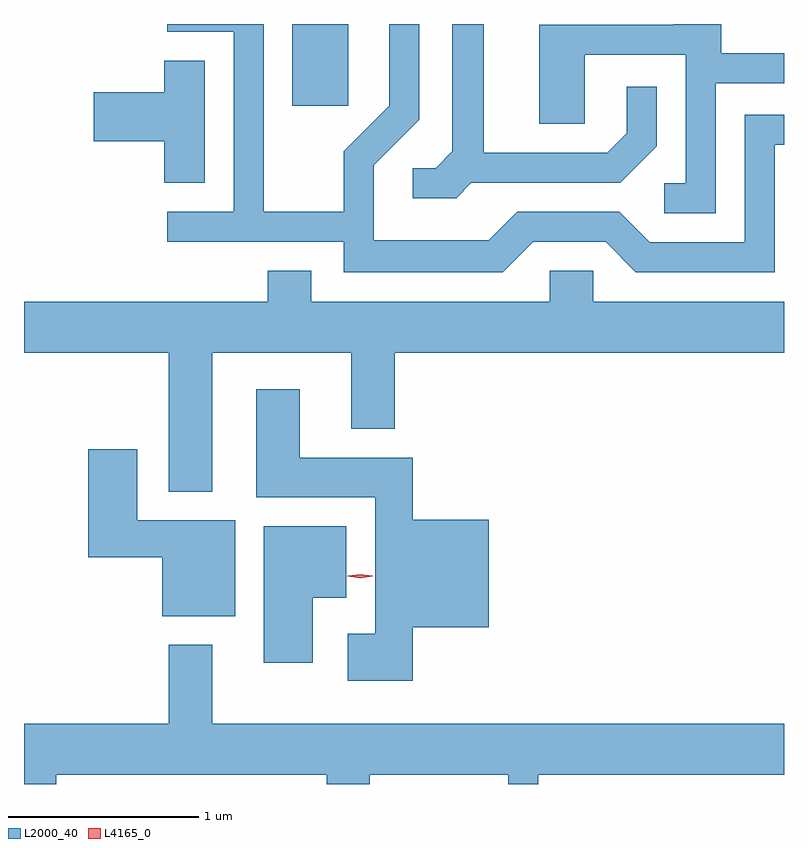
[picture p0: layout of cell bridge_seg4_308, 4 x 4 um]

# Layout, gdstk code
import gdstk
lib = gdstk.Library(unit=1e-6, precision=1e-09)
def R(c, l, rs):  # rectangles x0, y0, x1, y1
    for r in rs: c.add(gdstk.rectangle(r[:2], r[2:], *l))
def P(c, l, *ps):  # polygons
    for p in ps: c.add(gdstk.Polygon(p, *l))
L2000_40 = (2000, 40)
L4165_0 = (4165, 0)

bridge_seg4_308 = lib.new_cell('bridge_seg4_308')
R(bridge_seg4_308, L2000_40, [(388.391,1276.056,388.684,1276.487)])
P(bridge_seg4_308, L2000_40, [(390.619,1276.176),(390.978,1276.176),(390.978,1276.334),(390.649,1276.334),(390.649,1276.487),(390.395,1276.487),(390.395,1276.484),(389.691,1276.484),(389.691,1275.961),(389.929,1275.961),(389.929,1276.326),(390.461,1276.326),(390.461,1275.649),(390.348,1275.649),(390.348,1275.491),(390.619,1275.491)],
  [(389.657,1275.341),(390.039,1275.341),(390.199,1275.181),(390.929,1275.181),(390.929,1275.851),(390.978,1275.851),(390.978,1276.009),(390.771,1276.009),(390.771,1275.339),(390.272,1275.339),(390.112,1275.499),(389.574,1275.499),(389.424,1275.349),(388.819,1275.349),(388.819,1275.744),(389.059,1275.984),(389.059,1276.487),(388.901,1276.487),(388.901,1276.057),(388.661,1275.817),(388.661,1275.499),(388.239,1275.499),(388.239,1276.487),(387.733,1276.487),(387.733,1276.446),(388.081,1276.446),(388.081,1275.499),(387.733,1275.499),(387.733,1275.341),(388.661,1275.341),(388.661,1275.181),(389.497,1275.181)],
  [(389.332,1275.651),(390.117,1275.651),(390.309,1275.844),(390.309,1276.158),(390.151,1276.158),(390.151,1275.912),(390.049,1275.809),(389.399,1275.809),(389.399,1276.487),(389.231,1276.487),(389.231,1275.817),(389.144,1275.729),(389.023,1275.729),(389.023,1275.571),(389.252,1275.571)],
  [(387.929,1276.294),(387.716,1276.294),(387.716,1276.129),(387.346,1276.129),(387.346,1275.871),(387.716,1275.871),(387.716,1275.651),(387.929,1275.651)],
  [(387.969,1274.756),(388.701,1274.756),(388.701,1274.356),(388.929,1274.356),(388.929,1274.756),(390.978,1274.756),(390.978,1275.024),(389.974,1275.024),(389.974,1275.189),(389.746,1275.189),(389.746,1275.024),(388.489,1275.024),(388.489,1275.189),(388.261,1275.189),(388.261,1275.024),(386.978,1275.024),(386.978,1274.756),(387.741,1274.756),(387.741,1274.026),(387.969,1274.026)],
  [(389.024,1273.311),(389.424,1273.311),(389.424,1273.879),(389.024,1273.879),(389.024,1274.204),(388.429,1274.204),(388.429,1274.564),(388.201,1274.564),(388.201,1273.996),(388.826,1273.996),(388.826,1273.279),(388.681,1273.279),(388.681,1273.031),(389.024,1273.031)],
  [(388.089,1273.874),(387.574,1273.874),(387.574,1274.249),(387.316,1274.249),(387.316,1273.681),(387.706,1273.681),(387.706,1273.371),(388.089,1273.371)],
  [(388.499,1273.466),(388.674,1273.466),(388.674,1273.844),(388.241,1273.844),(388.241,1273.126),(388.499,1273.126)],
  [(387.149,1272.536),(388.571,1272.536),(388.571,1272.487),(388.799,1272.487),(388.799,1272.536),(389.526,1272.536),(389.526,1272.487),(389.684,1272.487),(389.684,1272.536),(390.978,1272.536),(390.978,1272.804),(387.969,1272.804),(387.969,1273.219),(387.741,1273.219),(387.741,1272.804),(386.978,1272.804),(386.978,1272.487),(387.149,1272.487)])
P(bridge_seg4_308, L4165_0, [(388.748,1273.571),(388.682,1273.581),(388.682,1273.581),(388.682,1273.582),(388.748,1273.591),(388.814,1273.582),(388.814,1273.581),(388.814,1273.581)])

lib.write_gds('bridge_seg4_308.gds')
